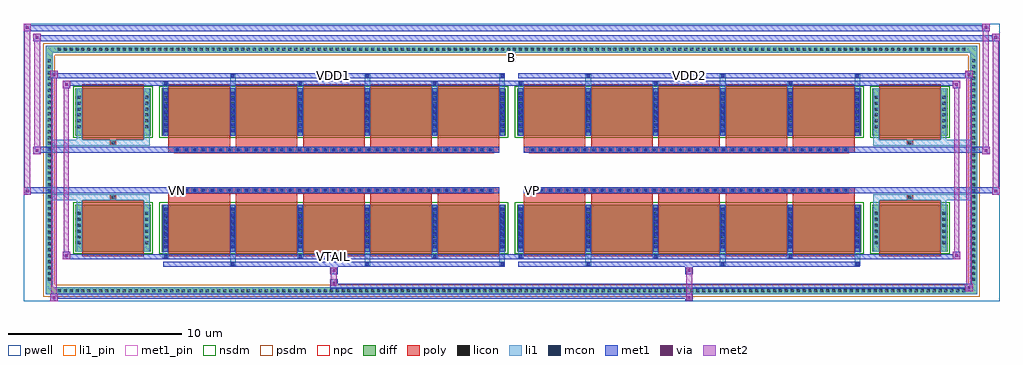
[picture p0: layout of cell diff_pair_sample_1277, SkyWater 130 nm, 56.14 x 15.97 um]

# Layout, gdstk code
import gdstk
lib = gdstk.Library(unit=1e-6, precision=5e-09)
def R(c, l, rs):  # rectangles x0, y0, x1, y1
    for r in rs: c.add(gdstk.rectangle(r[:2], r[2:], *l))
def A(c, l, x, y, w, h, nx, ny, dx, dy):  # array of equal rectangles
    R(c, l, [(x+i*dx, y+j*dy, x+i*dx+w, y+j*dy+h) for i in range(nx) for j in range(ny)])
def P(c, l, *ps):  # polygons
    for p in ps: c.add(gdstk.Polygon(p, *l))
pwell = (64, 44)
diff = (65, 20)
poly = (66, 20)
licon = (66, 44)
li1_pin = (67, 16)
li1 = (67, 20)
mcon = (67, 44)
met1_pin = (68, 16)
met1 = (68, 20)
via = (68, 44)
met2 = (69, 20)
nsdm = (93, 44)
psdm = (94, 20)
npc = (95, 20)

diff_pair_sample_1277 = lib.new_cell('diff_pair_sample_1277')
R(diff_pair_sample_1277, pwell, [(-28.07,-7.55,28.07,8.42), (-25.39,-5.74,-0.01,-0.8), (0.01,-5.74,25.39,-0.8), (-25.39,0.8,-0.01,5.74), (0.01,0.8,25.39,5.74)])
A(diff_pair_sample_1277, diff, -26.215, -7.15, 0.41, 0.41, 154, 2, 0.34, 13.89)
A(diff_pair_sample_1277, diff, -26.8, -6.495, 0.41, 0.41, 1, 38, 0, 0.34)
A(diff_pair_sample_1277, diff, 26.39, -6.495, 0.41, 0.41, 1, 38, 0, 0.34)
R(diff_pair_sample_1277, diff, [(-26.215,-7.15,26.215,-6.74), (-26.8,-6.495,-26.39,6.495), (26.39,-6.495,26.8,6.495), (-25.08,-4.695,-20.76,-1.985), (-20.12,-4.695,-0.32,-1.985), (0.32,-4.695,20.12,-1.985), (20.76,-4.695,25.08,-1.985), (-25.08,1.985,-20.76,4.695), (-20.12,1.985,-0.32,4.695), (0.32,1.985,20.12,4.695), (20.76,1.985,25.08,4.695), (-26.215,6.74,26.215,7.15)])
P(diff_pair_sample_1277, diff, [(26.8,7.15),(-26.8,7.15),(-26.8,-6.74),(-26.39,-6.74),(-26.39,6.74),(26.39,6.74),(26.39,-6.74),(-26.39,-6.74),(-26.8,-6.74),(-26.8,-7.15),(26.8,-7.15)])
A(diff_pair_sample_1277, poly, -19.73, -4.945, 3.54, 3.21, 5, 2, 3.87, 6.68)
A(diff_pair_sample_1277, poly, 0.71, -4.945, 3.54, 3.21, 5, 2, 3.87, 6.68)
A(diff_pair_sample_1277, poly, -19.73, -1.735, 3.54, 0.405, 5, 2, 3.87, 3.065)
A(diff_pair_sample_1277, poly, 0.71, -1.735, 3.54, 0.405, 5, 2, 3.87, 3.065)
A(diff_pair_sample_1277, poly, -19.385, -1.33, 0.33, 0.33, 37, 2, 0.5, 2.33)
A(diff_pair_sample_1277, poly, 1.055, -1.33, 0.33, 0.33, 37, 2, 0.5, 2.33)
R(diff_pair_sample_1277, poly, [(-24.69,-4.945,-21.15,-1.735), (21.15,-4.945,24.69,-1.735), (-23.085,-1.735,-22.755,-1.405), (-23.085,-1.735,-22.755,-1.405), (22.755,-1.735,23.085,-1.405), (22.755,-1.735,23.085,-1.405), (-19.73,-1.33,-0.71,-1), (0.71,-1.33,19.73,-1), (-19.73,1,-0.71,1.33), (0.71,1,19.73,1.33), (-23.085,1.405,-22.755,1.735), (-23.085,1.405,-22.755,1.735), (22.755,1.405,23.085,1.735), (22.755,1.405,23.085,1.735), (-24.69,1.735,-21.15,4.945), (21.15,1.735,24.69,4.945)])
A(diff_pair_sample_1277, licon, -26.095, -7.03, 0.17, 0.17, 154, 2, 0.34, 13.89)
A(diff_pair_sample_1277, licon, -26.68, -6.375, 0.17, 0.17, 1, 38, 0, 0.34)
A(diff_pair_sample_1277, licon, 26.51, -6.375, 0.17, 0.17, 1, 38, 0, 0.34)
A(diff_pair_sample_1277, licon, -24.94, -4.275, 0.17, 0.17, 1, 6, 0, 0.34)
A(diff_pair_sample_1277, licon, -21.07, -4.275, 0.17, 0.17, 1, 6, 0, 0.34)
A(diff_pair_sample_1277, licon, -19.98, -4.275, 0.17, 0.17, 6, 6, 3.87, 0.34)
A(diff_pair_sample_1277, licon, 0.46, -4.275, 0.17, 0.17, 6, 6, 3.87, 0.34)
A(diff_pair_sample_1277, licon, 20.9, -4.275, 0.17, 0.17, 1, 6, 0, 0.34)
A(diff_pair_sample_1277, licon, 24.77, -4.275, 0.17, 0.17, 1, 6, 0, 0.34)
A(diff_pair_sample_1277, licon, -19.305, -1.25, 0.17, 0.17, 37, 2, 0.5, 2.33)
A(diff_pair_sample_1277, licon, 1.135, -1.25, 0.17, 0.17, 37, 2, 0.5, 2.33)
A(diff_pair_sample_1277, licon, -24.94, 2.405, 0.17, 0.17, 1, 6, 0, 0.34)
A(diff_pair_sample_1277, licon, -21.07, 2.405, 0.17, 0.17, 1, 6, 0, 0.34)
A(diff_pair_sample_1277, licon, -19.98, 2.405, 0.17, 0.17, 6, 6, 3.87, 0.34)
A(diff_pair_sample_1277, licon, 0.46, 2.405, 0.17, 0.17, 6, 6, 3.87, 0.34)
A(diff_pair_sample_1277, licon, 20.9, 2.405, 0.17, 0.17, 1, 6, 0, 0.34)
A(diff_pair_sample_1277, licon, 24.77, 2.405, 0.17, 0.17, 1, 6, 0, 0.34)
R(diff_pair_sample_1277, licon, [(-23.005,-1.655,-22.835,-1.485), (22.835,-1.655,23.005,-1.485), (-23.005,1.485,-22.835,1.655), (22.835,1.485,23.005,1.655)])
R(diff_pair_sample_1277, li1_pin, [(-0.25,6.24,0.25,6.74)])
A(diff_pair_sample_1277, li1, -26.175, -7.11, 0.33, 0.33, 154, 2, 0.34, 13.89)
A(diff_pair_sample_1277, li1, -26.76, -6.455, 0.33, 0.33, 1, 38, 0, 0.34)
A(diff_pair_sample_1277, li1, 26.43, -6.455, 0.33, 0.33, 1, 38, 0, 0.34)
A(diff_pair_sample_1277, li1, -16.19, -5.5, 0.33, 0.805, 3, 2, 7.74, 10.195)
A(diff_pair_sample_1277, li1, -16.11, -5.5, 0.17, 0.17, 3, 2, 7.74, 10.83)
A(diff_pair_sample_1277, li1, 4.25, -5.5, 0.33, 0.805, 3, 2, 7.74, 10.195)
A(diff_pair_sample_1277, li1, 4.33, -5.5, 0.17, 0.17, 3, 2, 7.74, 10.83)
A(diff_pair_sample_1277, li1, -20.06, -5.07, 0.33, 0.375, 3, 2, 7.74, 9.765)
A(diff_pair_sample_1277, li1, -19.98, -5.07, 0.17, 0.17, 3, 2, 7.74, 9.97)
A(diff_pair_sample_1277, li1, 0.38, -5.07, 0.33, 0.375, 3, 2, 7.74, 9.765)
A(diff_pair_sample_1277, li1, 0.46, -5.07, 0.17, 0.17, 3, 2, 7.74, 9.97)
A(diff_pair_sample_1277, li1, -20.06, -4.695, 0.33, 2.71, 6, 2, 3.87, 6.68)
A(diff_pair_sample_1277, li1, 0.38, -4.695, 0.33, 2.71, 6, 2, 3.87, 6.68)
A(diff_pair_sample_1277, li1, -19.98, -4.505, 0.17, 0.17, 6, 7, 3.87, 0.36)
A(diff_pair_sample_1277, li1, -19.98, -4.505, 0.17, 2.33, 6, 2, 3.87, 6.68)
A(diff_pair_sample_1277, li1, 0.46, -4.505, 0.17, 0.17, 6, 7, 3.87, 0.36)
A(diff_pair_sample_1277, li1, 0.46, -4.505, 0.17, 2.33, 6, 2, 3.87, 6.68)
A(diff_pair_sample_1277, li1, -25.02, -4.355, 0.33, 0.33, 1, 6, 0, 0.34)
A(diff_pair_sample_1277, li1, -21.15, -4.355, 0.33, 0.33, 1, 6, 0, 0.34)
A(diff_pair_sample_1277, li1, -20.06, -4.355, 0.33, 0.33, 6, 6, 3.87, 0.34)
A(diff_pair_sample_1277, li1, 0.38, -4.355, 0.33, 0.33, 6, 6, 3.87, 0.34)
A(diff_pair_sample_1277, li1, 20.82, -4.355, 0.33, 0.33, 1, 6, 0, 0.34)
A(diff_pair_sample_1277, li1, 24.69, -4.355, 0.33, 0.33, 1, 6, 0, 0.34)
A(diff_pair_sample_1277, li1, -19.385, -1.33, 0.33, 0.33, 37, 2, 0.5, 2.33)
A(diff_pair_sample_1277, li1, 1.055, -1.33, 0.33, 0.33, 37, 2, 0.5, 2.33)
A(diff_pair_sample_1277, li1, -19.98, 2.175, 0.17, 0.17, 6, 7, 3.87, 0.36)
A(diff_pair_sample_1277, li1, 0.46, 2.175, 0.17, 0.17, 6, 7, 3.87, 0.36)
A(diff_pair_sample_1277, li1, -25.02, 2.325, 0.33, 0.33, 1, 6, 0, 0.34)
A(diff_pair_sample_1277, li1, -21.15, 2.325, 0.33, 0.33, 1, 6, 0, 0.34)
A(diff_pair_sample_1277, li1, -20.06, 2.325, 0.33, 0.33, 6, 6, 3.87, 0.34)
A(diff_pair_sample_1277, li1, 0.38, 2.325, 0.33, 0.33, 6, 6, 3.87, 0.34)
A(diff_pair_sample_1277, li1, 20.82, 2.325, 0.33, 0.33, 1, 6, 0, 0.34)
A(diff_pair_sample_1277, li1, 24.69, 2.325, 0.33, 0.33, 1, 6, 0, 0.34)
R(diff_pair_sample_1277, li1, [(-26.8,-7.15,-26.39,-6.74), (-26.8,-7.15,-26.39,-6.74), (-26.39,-7.15,26.39,-6.74), (26.39,-7.15,26.8,-6.74), (26.39,-7.15,26.8,-6.74), (-26.8,-6.74,-26.39,6.74), (26.39,-6.74,26.8,6.74), (-25.02,-4.695,-24.69,-1.985), (-21.15,-4.695,-20.82,-1.985), (20.82,-4.695,21.15,-1.985), (24.69,-4.695,25.02,-1.985), (-25.02,-1.985,-24.69,-1.405), (-21.15,-1.985,-20.82,-1.405), (20.82,-1.985,21.15,-1.405), (24.69,-1.985,25.02,-1.405), (-26.8,-1.735,-23.085,-1.405), (-25.02,-1.735,-23.085,-1.405), (-23.085,-1.735,-22.755,-1.405), (-22.755,-1.735,-20.82,-1.405), (20.82,-1.735,22.755,-1.405), (22.755,-1.735,23.085,-1.405), (22.755,-1.735,26.8,-1.405), (23.085,-1.735,25.02,-1.405), (-26.8,1.405,-23.085,1.735), (-25.02,1.405,-23.085,1.735), (-25.02,1.405,-24.69,1.985), (-23.085,1.405,-22.755,1.735), (-22.755,1.405,-20.82,1.735), (-21.15,1.405,-20.82,1.985), (20.82,1.405,22.755,1.735), (20.82,1.405,21.15,1.985), (22.755,1.405,23.085,1.735), (22.755,1.405,26.8,1.735), (23.085,1.405,25.02,1.735), (24.69,1.405,25.02,1.985), (-25.02,1.985,-24.69,4.695), (-21.15,1.985,-20.82,4.695), (20.82,1.985,21.15,4.695), (24.69,1.985,25.02,4.695), (-26.8,6.74,-26.39,7.15), (-26.8,6.74,-26.39,7.15), (-26.39,6.74,26.39,7.15), (26.39,6.74,26.8,7.15), (26.39,6.74,26.8,7.15)])
A(diff_pair_sample_1277, mcon, -16.11, -5.5, 0.17, 0.17, 3, 2, 7.74, 10.83)
A(diff_pair_sample_1277, mcon, 4.33, -5.5, 0.17, 0.17, 3, 2, 7.74, 10.83)
A(diff_pair_sample_1277, mcon, -19.98, -5.07, 0.17, 0.17, 3, 2, 7.74, 9.97)
A(diff_pair_sample_1277, mcon, 0.46, -5.07, 0.17, 0.17, 3, 2, 7.74, 9.97)
A(diff_pair_sample_1277, mcon, -19.98, -4.505, 0.17, 0.17, 6, 7, 3.87, 0.36)
A(diff_pair_sample_1277, mcon, 0.46, -4.505, 0.17, 0.17, 6, 7, 3.87, 0.36)
A(diff_pair_sample_1277, mcon, -19.305, -1.25, 0.17, 0.17, 37, 2, 0.5, 2.33)
A(diff_pair_sample_1277, mcon, 1.135, -1.25, 0.17, 0.17, 37, 2, 0.5, 2.33)
A(diff_pair_sample_1277, mcon, -19.98, 2.175, 0.17, 0.17, 6, 7, 3.87, 0.36)
A(diff_pair_sample_1277, mcon, 0.46, 2.175, 0.17, 0.17, 6, 7, 3.87, 0.36)
R(diff_pair_sample_1277, met1_pin, [(-10.355,-5.11,-10.085,-4.84), (-19.355,-1.29,-19.085,-1.02), (1.085,-1.29,1.355,-1.02), (-10.355,5.29,-10.085,5.56), (10.085,5.29,10.355,5.56)])
A(diff_pair_sample_1277, met1, -16.17, -5.56, 0.29, 0.29, 3, 2, 7.74, 10.83)
A(diff_pair_sample_1277, met1, 4.27, -5.56, 0.29, 0.29, 3, 2, 7.74, 10.83)
A(diff_pair_sample_1277, met1, -20.04, -5.13, 0.29, 0.29, 3, 2, 7.74, 9.97)
A(diff_pair_sample_1277, met1, 0.4, -5.13, 0.29, 0.29, 3, 2, 7.74, 9.97)
A(diff_pair_sample_1277, met1, -20.04, -4.695, 0.29, 2.71, 6, 2, 3.87, 6.68)
A(diff_pair_sample_1277, met1, 0.4, -4.695, 0.29, 2.71, 6, 2, 3.87, 6.68)
A(diff_pair_sample_1277, met1, -20.04, -4.565, 0.29, 0.29, 6, 7, 3.87, 0.36)
A(diff_pair_sample_1277, met1, 0.4, -4.565, 0.29, 0.29, 6, 7, 3.87, 0.36)
A(diff_pair_sample_1277, met1, -19.365, -1.31, 0.29, 0.29, 37, 2, 0.5, 2.33)
A(diff_pair_sample_1277, met1, 1.075, -1.31, 0.29, 0.29, 37, 2, 0.5, 2.33)
A(diff_pair_sample_1277, met1, -20.04, 2.115, 0.29, 0.29, 6, 7, 3.87, 0.36)
A(diff_pair_sample_1277, met1, 0.4, 2.115, 0.29, 0.29, 6, 7, 3.87, 0.36)
R(diff_pair_sample_1277, met1, [(-26.53,-7.55,-26.1,-7.12), (10.005,-7.55,10.435,-7.12), (-26.53,-7.41,10.435,-7.12), (26.1,-6.98,26.53,-6.55), (-10.435,-6.84,26.53,-6.55), (-10.435,-6.7,-10.005,-6.27), (-10.435,-5.99,-10.005,-5.56), (10.005,-5.99,10.435,-5.56), (-20.04,-5.56,-0.4,-5.27), (0.4,-5.56,20.04,-5.27), (-25.82,-5.13,-25.39,-4.7), (-25.82,-5.13,-20.04,-4.84), (-20.04,-5.13,-0.4,-4.84), (-0.4,-5.13,0.4,-4.84), (0.4,-5.13,20.04,-4.84), (20.04,-5.13,25.82,-4.84), (25.39,-5.13,25.82,-4.7), (-28.07,-1.43,-27.64,-1), (27.64,-1.43,28.07,-1), (-28.07,-1.33,-0.71,-1), (-19.73,-1.33,-0.71,-1), (0.71,-1.33,19.73,-1), (0.71,-1.33,28.07,-1), (-27.5,0.9,-27.07,1.33), (27.07,0.9,27.5,1.33), (-27.5,1,-19.73,1.33), (-19.73,1,-0.71,1.33), (0.71,1,19.73,1.33), (19.73,1,27.5,1.33), (-25.82,4.7,-25.39,5.13), (25.39,4.7,25.82,5.13), (-25.82,4.84,-20.04,5.13), (-20.04,4.84,-0.4,5.13), (-0.4,4.84,0.4,5.13), (0.4,4.84,20.04,5.13), (20.04,4.84,25.82,5.13), (-26.53,5.27,-26.1,5.7), (-26.53,5.27,-20.04,5.56), (-20.04,5.27,-0.4,5.56), (0.4,5.27,20.04,5.56), (20.04,5.27,26.53,5.56), (26.1,5.27,26.53,5.7), (-27.5,7.42,-27.07,7.85), (-27.5,7.42,-25.39,7.75), (-25.39,7.42,25.39,7.75), (25.39,7.42,28.07,7.75), (27.64,7.42,28.07,7.85), (-28.07,7.99,-27.64,8.42), (-28.07,7.99,-25.39,8.32), (-25.39,7.99,25.39,8.32), (25.39,7.99,27.5,8.32), (27.07,7.99,27.5,8.42)])
R(diff_pair_sample_1277, via, [(-26.39,-7.41,-26.24,-7.26), (10.145,-7.41,10.295,-7.26), (26.24,-6.84,26.39,-6.69), (-10.295,-6.56,-10.145,-6.41), (-10.295,-5.85,-10.145,-5.7), (10.145,-5.85,10.295,-5.7), (-25.68,-4.99,-25.53,-4.84), (25.53,-4.99,25.68,-4.84), (-27.93,-1.29,-27.78,-1.14), (27.78,-1.29,27.93,-1.14), (-27.36,1.04,-27.21,1.19), (27.21,1.04,27.36,1.19), (-25.68,4.84,-25.53,4.99), (25.53,4.84,25.68,4.99), (-26.39,5.41,-26.24,5.56), (26.24,5.41,26.39,5.56), (-27.36,7.56,-27.21,7.71), (27.78,7.56,27.93,7.71), (-27.93,8.13,-27.78,8.28), (27.21,8.13,27.36,8.28)])
R(diff_pair_sample_1277, met2, [(-26.53,-7.55,-26.1,-7.12), (-26.46,-7.55,-26.17,5.7), (-26.17,-7.55,-26.1,-7.12), (-26.48,-7.5,-26.15,-7.17), (10.055,-7.5,10.385,-7.17), (10.055,-7.17,10.385,-5.94), (26.1,-6.98,26.53,-6.55), (26.17,-6.98,26.46,5.7), (26.46,-6.98,26.53,-6.55), (26.15,-6.93,26.48,-6.6), (-10.385,-6.65,-10.055,-6.32), (-10.385,-6.32,-10.055,-5.94), (-10.385,-5.94,-10.055,-5.61), (10.055,-5.94,10.385,-5.61), (-25.82,-5.13,-25.39,-4.7), (-25.75,-5.13,-25.46,5.13), (-25.46,-5.13,-25.39,-4.7), (25.39,-5.13,25.82,-4.7), (25.46,-5.13,25.75,5.13), (25.75,-5.13,25.82,-4.7), (-25.77,-5.08,-25.44,-4.75), (25.44,-5.08,25.77,-4.75), (-28.07,-1.43,-27.64,-1), (-28.02,-1.43,-27.69,8.42), (-27.69,-1.43,-27.64,-1), (27.64,-1.43,28.07,-1), (27.69,-1.43,28.02,7.85), (28.02,-1.43,28.07,-1), (-28.02,-1.38,-27.69,-1.05), (27.69,-1.38,28.02,-1.05), (-27.5,0.9,-27.07,1.33), (-27.45,0.9,-27.12,7.85), (-27.12,0.9,-27.07,1.33), (27.07,0.9,27.5,1.33), (27.12,0.9,27.45,8.42), (27.45,0.9,27.5,1.33), (-27.45,0.95,-27.12,1.28), (27.12,0.95,27.45,1.28), (-25.82,4.7,-25.39,5.13), (-25.46,4.7,-25.39,5.13), (25.39,4.7,25.82,5.13), (25.75,4.7,25.82,5.13), (-25.77,4.75,-25.44,5.08), (25.44,4.75,25.77,5.08), (-26.53,5.27,-26.1,5.7), (-26.17,5.27,-26.1,5.7), (26.1,5.27,26.53,5.7), (26.46,5.27,26.53,5.7), (-26.48,5.32,-26.15,5.65), (26.15,5.32,26.48,5.65), (-27.5,7.42,-27.07,7.85), (-27.12,7.42,-27.07,7.85), (27.64,7.42,28.07,7.85), (28.02,7.42,28.07,7.85), (-27.45,7.47,-27.12,7.8), (27.69,7.47,28.02,7.8), (-28.07,7.99,-27.64,8.42), (-27.69,7.99,-27.64,8.42), (27.07,7.99,27.5,8.42), (27.45,7.99,27.5,8.42), (-28.02,8.04,-27.69,8.37), (27.12,8.04,27.45,8.37)])
R(diff_pair_sample_1277, nsdm, [(-25.21,-4.825,-20.63,-1.855), (-20.25,-4.825,-0.19,-1.855), (0.19,-4.825,20.25,-1.855), (20.63,-4.825,25.21,-1.855), (-25.21,1.855,-20.63,4.825), (-20.25,1.855,-0.19,4.825), (0.19,1.855,20.25,4.825), (20.63,1.855,25.21,4.825)])
P(diff_pair_sample_1277, psdm, [(26.93,7.28),(-26.93,7.28),(-26.93,-6.61),(-26.26,-6.61),(-26.26,6.61),(26.26,6.61),(26.26,-6.61),(-26.26,-6.61),(-26.93,-6.61),(-26.93,-7.28),(26.93,-7.28)])
A(diff_pair_sample_1277, npc, -19.405, -1.35, 0.37, 0.37, 37, 2, 0.5, 2.33)
A(diff_pair_sample_1277, npc, 1.035, -1.35, 0.37, 0.37, 37, 2, 0.5, 2.33)
R(diff_pair_sample_1277, npc, [(-23.105,-1.755,-22.735,-1.385), (22.735,-1.755,23.105,-1.385), (-19.405,-1.35,-18.535,-0.98), (-19.405,-1.35,-18.535,-0.98), (-18.905,-1.35,-18.035,-0.98), (-18.905,-1.35,-18.035,-0.98), (-18.405,-1.35,-17.535,-0.98), (-18.405,-1.35,-17.535,-0.98), (-17.905,-1.35,-17.035,-0.98), (-17.905,-1.35,-17.035,-0.98), (-17.405,-1.35,-16.535,-0.98), (-17.405,-1.35,-16.535,-0.98), (-16.905,-1.35,-16.035,-0.98), (-16.905,-1.35,-16.035,-0.98), (-16.405,-1.35,-15.535,-0.98), (-16.405,-1.35,-15.535,-0.98), (-15.905,-1.35,-15.035,-0.98), (-15.905,-1.35,-15.035,-0.98), (-15.405,-1.35,-14.535,-0.98), (-15.405,-1.35,-14.535,-0.98), (-14.905,-1.35,-14.035,-0.98), (-14.905,-1.35,-14.035,-0.98), (-14.405,-1.35,-13.535,-0.98), (-14.405,-1.35,-13.535,-0.98), (-13.905,-1.35,-13.035,-0.98), (-13.905,-1.35,-13.035,-0.98), (-13.405,-1.35,-12.535,-0.98), (-13.405,-1.35,-12.535,-0.98), (-12.905,-1.35,-12.035,-0.98), (-12.905,-1.35,-12.035,-0.98), (-12.405,-1.35,-11.535,-0.98), (-12.405,-1.35,-11.535,-0.98), (-11.905,-1.35,-11.035,-0.98), (-11.905,-1.35,-11.035,-0.98), (-11.405,-1.35,-10.535,-0.98), (-11.405,-1.35,-10.535,-0.98), (-10.905,-1.35,-10.035,-0.98), (-10.905,-1.35,-10.035,-0.98), (-10.405,-1.35,-9.535,-0.98), (-10.405,-1.35,-9.535,-0.98), (-9.905,-1.35,-9.035,-0.98), (-9.905,-1.35,-9.035,-0.98), (-9.405,-1.35,-8.535,-0.98), (-9.405,-1.35,-8.535,-0.98), (-8.905,-1.35,-8.035,-0.98), (-8.905,-1.35,-8.035,-0.98), (-8.405,-1.35,-7.535,-0.98), (-8.405,-1.35,-7.535,-0.98), (-7.905,-1.35,-7.035,-0.98), (-7.905,-1.35,-7.035,-0.98), (-7.405,-1.35,-6.535,-0.98), (-7.405,-1.35,-6.535,-0.98), (-6.905,-1.35,-6.035,-0.98), (-6.905,-1.35,-6.035,-0.98), (-6.405,-1.35,-5.535,-0.98), (-6.405,-1.35,-5.535,-0.98), (-5.905,-1.35,-5.035,-0.98), (-5.905,-1.35,-5.035,-0.98), (-5.405,-1.35,-4.535,-0.98), (-5.405,-1.35,-4.535,-0.98), (-4.905,-1.35,-4.035,-0.98), (-4.905,-1.35,-4.035,-0.98), (-4.405,-1.35,-3.535,-0.98), (-4.405,-1.35,-3.535,-0.98), (-3.905,-1.35,-3.035,-0.98), (-3.905,-1.35,-3.035,-0.98), (-3.405,-1.35,-2.535,-0.98), (-3.405,-1.35,-2.535,-0.98), (-2.905,-1.35,-2.035,-0.98), (-2.905,-1.35,-2.035,-0.98), (-2.405,-1.35,-1.535,-0.98), (-2.405,-1.35,-1.535,-0.98), (-1.905,-1.35,-1.035,-0.98), (-1.905,-1.35,-1.035,-0.98), (1.035,-1.35,1.905,-0.98), (1.035,-1.35,1.905,-0.98), (1.535,-1.35,2.405,-0.98), (1.535,-1.35,2.405,-0.98), (2.035,-1.35,2.905,-0.98), (2.035,-1.35,2.905,-0.98), (2.535,-1.35,3.405,-0.98), (2.535,-1.35,3.405,-0.98), (3.035,-1.35,3.905,-0.98), (3.035,-1.35,3.905,-0.98), (3.535,-1.35,4.405,-0.98), (3.535,-1.35,4.405,-0.98), (4.035,-1.35,4.905,-0.98), (4.035,-1.35,4.905,-0.98), (4.535,-1.35,5.405,-0.98), (4.535,-1.35,5.405,-0.98), (5.035,-1.35,5.905,-0.98), (5.035,-1.35,5.905,-0.98), (5.535,-1.35,6.405,-0.98), (5.535,-1.35,6.405,-0.98), (6.035,-1.35,6.905,-0.98), (6.035,-1.35,6.905,-0.98), (6.535,-1.35,7.405,-0.98), (6.535,-1.35,7.405,-0.98), (7.035,-1.35,7.905,-0.98), (7.035,-1.35,7.905,-0.98), (7.535,-1.35,8.405,-0.98), (7.535,-1.35,8.405,-0.98), (8.035,-1.35,8.905,-0.98), (8.035,-1.35,8.905,-0.98), (8.535,-1.35,9.405,-0.98), (8.535,-1.35,9.405,-0.98), (9.035,-1.35,9.905,-0.98), (9.035,-1.35,9.905,-0.98), (9.535,-1.35,10.405,-0.98), (9.535,-1.35,10.405,-0.98), (10.035,-1.35,10.905,-0.98), (10.035,-1.35,10.905,-0.98), (10.535,-1.35,11.405,-0.98), (10.535,-1.35,11.405,-0.98), (11.035,-1.35,11.905,-0.98), (11.035,-1.35,11.905,-0.98), (11.535,-1.35,12.405,-0.98), (11.535,-1.35,12.405,-0.98), (12.035,-1.35,12.905,-0.98), (12.035,-1.35,12.905,-0.98), (12.535,-1.35,13.405,-0.98), (12.535,-1.35,13.405,-0.98), (13.035,-1.35,13.905,-0.98), (13.035,-1.35,13.905,-0.98), (13.535,-1.35,14.405,-0.98), (13.535,-1.35,14.405,-0.98), (14.035,-1.35,14.905,-0.98), (14.035,-1.35,14.905,-0.98), (14.535,-1.35,15.405,-0.98), (14.535,-1.35,15.405,-0.98), (15.035,-1.35,15.905,-0.98), (15.035,-1.35,15.905,-0.98), (15.535,-1.35,16.405,-0.98), (15.535,-1.35,16.405,-0.98), (16.035,-1.35,16.905,-0.98), (16.035,-1.35,16.905,-0.98), (16.535,-1.35,17.405,-0.98), (16.535,-1.35,17.405,-0.98), (17.035,-1.35,17.905,-0.98), (17.035,-1.35,17.905,-0.98), (17.535,-1.35,18.405,-0.98), (17.535,-1.35,18.405,-0.98), (18.035,-1.35,18.905,-0.98), (18.035,-1.35,18.905,-0.98), (18.535,-1.35,19.405,-0.98), (18.535,-1.35,19.405,-0.98), (-19.405,0.98,-18.535,1.35), (-19.405,0.98,-18.535,1.35), (-18.905,0.98,-18.035,1.35), (-18.905,0.98,-18.035,1.35), (-18.405,0.98,-17.535,1.35), (-18.405,0.98,-17.535,1.35), (-17.905,0.98,-17.035,1.35), (-17.905,0.98,-17.035,1.35), (-17.405,0.98,-16.535,1.35), (-17.405,0.98,-16.535,1.35), (-16.905,0.98,-16.035,1.35), (-16.905,0.98,-16.035,1.35), (-16.405,0.98,-15.535,1.35), (-16.405,0.98,-15.535,1.35), (-15.905,0.98,-15.035,1.35), (-15.905,0.98,-15.035,1.35), (-15.405,0.98,-14.535,1.35), (-15.405,0.98,-14.535,1.35), (-14.905,0.98,-14.035,1.35), (-14.905,0.98,-14.035,1.35), (-14.405,0.98,-13.535,1.35), (-14.405,0.98,-13.535,1.35), (-13.905,0.98,-13.035,1.35), (-13.905,0.98,-13.035,1.35), (-13.405,0.98,-12.535,1.35), (-13.405,0.98,-12.535,1.35), (-12.905,0.98,-12.035,1.35), (-12.905,0.98,-12.035,1.35), (-12.405,0.98,-11.535,1.35), (-12.405,0.98,-11.535,1.35), (-11.905,0.98,-11.035,1.35), (-11.905,0.98,-11.035,1.35), (-11.405,0.98,-10.535,1.35), (-11.405,0.98,-10.535,1.35), (-10.905,0.98,-10.035,1.35), (-10.905,0.98,-10.035,1.35), (-10.405,0.98,-9.535,1.35), (-10.405,0.98,-9.535,1.35), (-9.905,0.98,-9.035,1.35), (-9.905,0.98,-9.035,1.35), (-9.405,0.98,-8.535,1.35), (-9.405,0.98,-8.535,1.35), (-8.905,0.98,-8.035,1.35), (-8.905,0.98,-8.035,1.35), (-8.405,0.98,-7.535,1.35), (-8.405,0.98,-7.535,1.35), (-7.905,0.98,-7.035,1.35), (-7.905,0.98,-7.035,1.35), (-7.405,0.98,-6.535,1.35), (-7.405,0.98,-6.535,1.35), (-6.905,0.98,-6.035,1.35), (-6.905,0.98,-6.035,1.35), (-6.405,0.98,-5.535,1.35), (-6.405,0.98,-5.535,1.35), (-5.905,0.98,-5.035,1.35), (-5.905,0.98,-5.035,1.35), (-5.405,0.98,-4.535,1.35), (-5.405,0.98,-4.535,1.35), (-4.905,0.98,-4.035,1.35), (-4.905,0.98,-4.035,1.35), (-4.405,0.98,-3.535,1.35), (-4.405,0.98,-3.535,1.35), (-3.905,0.98,-3.035,1.35), (-3.905,0.98,-3.035,1.35), (-3.405,0.98,-2.535,1.35), (-3.405,0.98,-2.535,1.35), (-2.905,0.98,-2.035,1.35), (-2.905,0.98,-2.035,1.35), (-2.405,0.98,-1.535,1.35), (-2.405,0.98,-1.535,1.35), (-1.905,0.98,-1.035,1.35), (-1.905,0.98,-1.035,1.35), (1.035,0.98,1.905,1.35), (1.035,0.98,1.905,1.35), (1.535,0.98,2.405,1.35), (1.535,0.98,2.405,1.35), (2.035,0.98,2.905,1.35), (2.035,0.98,2.905,1.35), (2.535,0.98,3.405,1.35), (2.535,0.98,3.405,1.35), (3.035,0.98,3.905,1.35), (3.035,0.98,3.905,1.35), (3.535,0.98,4.405,1.35), (3.535,0.98,4.405,1.35), (4.035,0.98,4.905,1.35), (4.035,0.98,4.905,1.35), (4.535,0.98,5.405,1.35), (4.535,0.98,5.405,1.35), (5.035,0.98,5.905,1.35), (5.035,0.98,5.905,1.35), (5.535,0.98,6.405,1.35), (5.535,0.98,6.405,1.35), (6.035,0.98,6.905,1.35), (6.035,0.98,6.905,1.35), (6.535,0.98,7.405,1.35), (6.535,0.98,7.405,1.35), (7.035,0.98,7.905,1.35), (7.035,0.98,7.905,1.35), (7.535,0.98,8.405,1.35), (7.535,0.98,8.405,1.35), (8.035,0.98,8.905,1.35), (8.035,0.98,8.905,1.35), (8.535,0.98,9.405,1.35), (8.535,0.98,9.405,1.35), (9.035,0.98,9.905,1.35), (9.035,0.98,9.905,1.35), (9.535,0.98,10.405,1.35), (9.535,0.98,10.405,1.35), (10.035,0.98,10.905,1.35), (10.035,0.98,10.905,1.35), (10.535,0.98,11.405,1.35), (10.535,0.98,11.405,1.35), (11.035,0.98,11.905,1.35), (11.035,0.98,11.905,1.35), (11.535,0.98,12.405,1.35), (11.535,0.98,12.405,1.35), (12.035,0.98,12.905,1.35), (12.035,0.98,12.905,1.35), (12.535,0.98,13.405,1.35), (12.535,0.98,13.405,1.35), (13.035,0.98,13.905,1.35), (13.035,0.98,13.905,1.35), (13.535,0.98,14.405,1.35), (13.535,0.98,14.405,1.35), (14.035,0.98,14.905,1.35), (14.035,0.98,14.905,1.35), (14.535,0.98,15.405,1.35), (14.535,0.98,15.405,1.35), (15.035,0.98,15.905,1.35), (15.035,0.98,15.905,1.35), (15.535,0.98,16.405,1.35), (15.535,0.98,16.405,1.35), (16.035,0.98,16.905,1.35), (16.035,0.98,16.905,1.35), (16.535,0.98,17.405,1.35), (16.535,0.98,17.405,1.35), (17.035,0.98,17.905,1.35), (17.035,0.98,17.905,1.35), (17.535,0.98,18.405,1.35), (17.535,0.98,18.405,1.35), (18.035,0.98,18.905,1.35), (18.035,0.98,18.905,1.35), (18.535,0.98,19.405,1.35), (18.535,0.98,19.405,1.35), (-23.105,1.385,-22.735,1.755), (22.735,1.385,23.105,1.755)])
diff_pair_sample_1277.add(gdstk.Label('VTAIL', (-10.22,-4.975), layer=68, texttype=5))
diff_pair_sample_1277.add(gdstk.Label('VN', (-19.22,-1.155), layer=68, texttype=5))
diff_pair_sample_1277.add(gdstk.Label('VP', (1.22,-1.155), layer=68, texttype=5))
diff_pair_sample_1277.add(gdstk.Label('B', (0,6.49), layer=67, texttype=5))
diff_pair_sample_1277.add(gdstk.Label('VDD2', (10.22,5.425), layer=68, texttype=5))
diff_pair_sample_1277.add(gdstk.Label('VDD1', (-10.22,5.425), layer=68, texttype=5))

lib.write_gds('diff_pair_sample_1277.gds')
